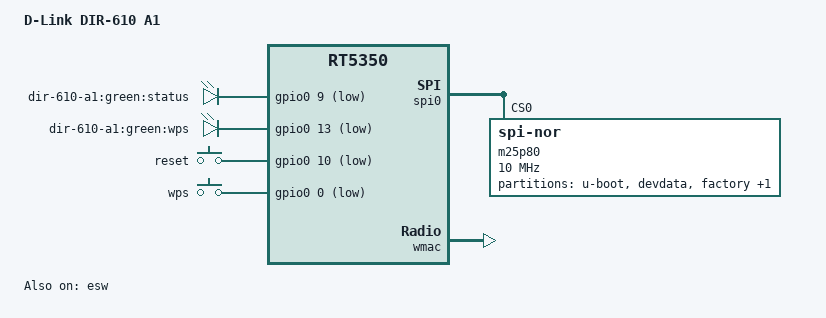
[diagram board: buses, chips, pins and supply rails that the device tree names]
/dts-v1/;

#include "rt5350.dtsi"

/ {
	compatible = "DIR-610-A1", "ralink,rt5350-soc";
	model = "D-Link DIR-610 A1";

	gpio-leds {
		compatible = "gpio-leds";

		status {
			label = "dir-610-a1:green:status";
			gpios = <&gpio0 9 1>;
		};

		wps {
			label = "dir-610-a1:green:wps";
			gpios = <&gpio0 13 1>;
		};
	};

	gpio-keys-polled {
		compatible = "gpio-keys-polled";
		#address-cells = <1>;
		#size-cells = <0>;
		poll-interval = <20>;

		reset {
			label = "reset";
			gpios = <&gpio0 10 1>;
			linux,code = <0x198>;
		};

		wps {
			label = "wps";
			gpios = <&gpio0 0 1>;
			linux,code = <0x211>;
		};
	};
};

&spi0 {
	status = "okay";

	m25p80@0 {
		#address-cells = <1>;
		#size-cells = <1>;
		compatible = "jedec,spi-nor";
		reg = <0>;
		linux,modalias = "m25p80";
		spi-max-frequency = <10000000>;

		partition@0 {
			label = "u-boot";
			reg = <0x0 0x30000>;
			read-only;
		};

		devdata: partition@30000 {
			label = "devdata";
			reg = <0x30000 0x10000>;
			read-only;
		};

		factory: partition@40000 {
			label = "factory";
			reg = <0x40000 0x10000>;
			read-only;
		};

		partition@50000 {
			label = "firmware";
			reg = <0x50000 0x3b0000>;
		};
	};
};

&pinctrl {
	state_default: pinctrl0 {
		gpio {
			ralink,group = "i2c", "jtag", "uartf";
			ralink,function = "gpio";
		};
	};
};

&ethernet {
	mtd-mac-address = <&devdata 0x4004>;
};

&esw {
	status = "okay";
	mediatek,portmap = <0x2f>;
	mediatek,led_polarity = <0x17>;
};

&wmac {
	status = "okay";
	ralink,led-polarity = <1>;
	ralink,mtd-eeprom = <&devdata 0x4000>;
};
